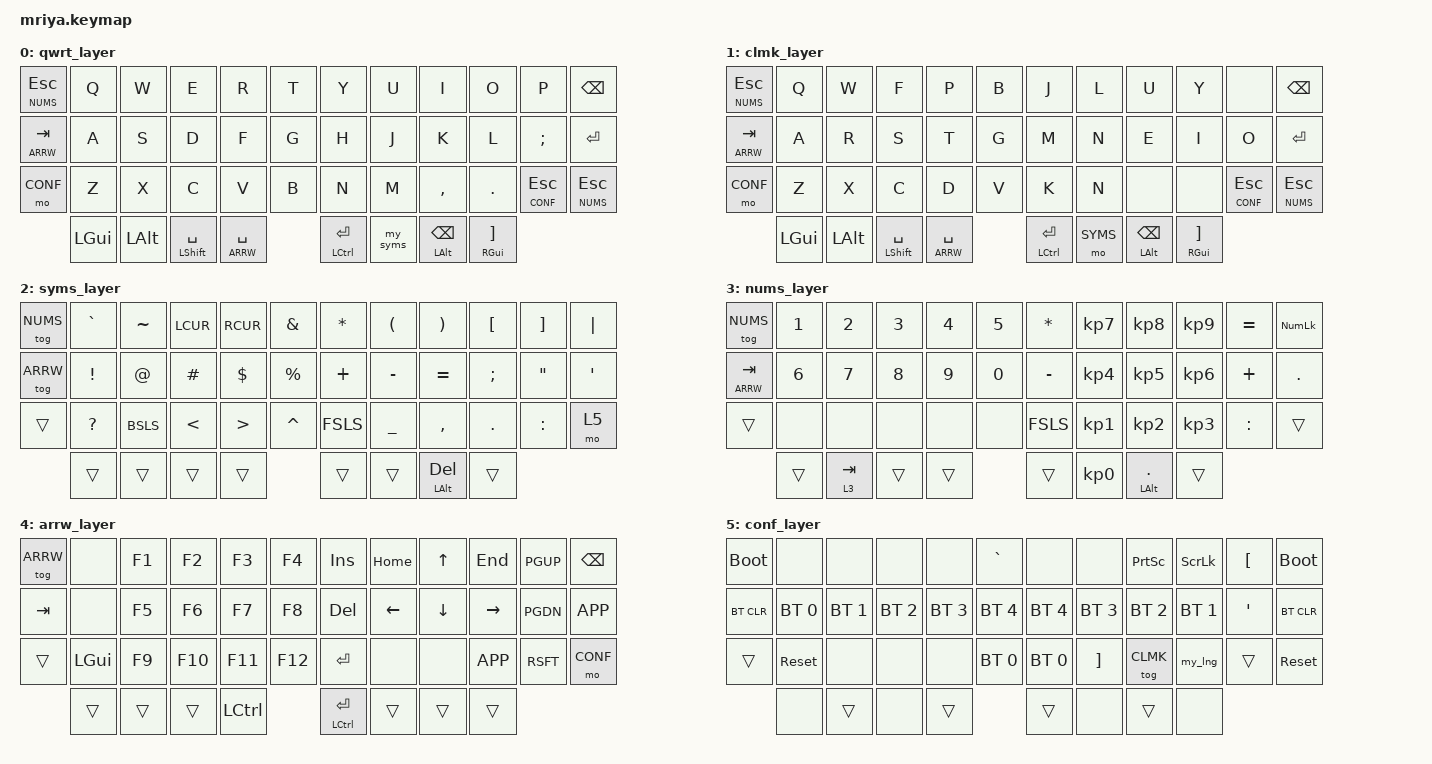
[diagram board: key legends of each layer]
/*
 * Copyright (c) 2023 Andrei Gaevskii
 *
 * SPDX-License-Identifier: MIT
 */

#include <behaviors.dtsi>
#include <dt-bindings/zmk/bt.h>
#include <dt-bindings/zmk/keys.h>

#define QWRT 0
#define CLMK 1
#define SYMS 2
#define NUMS 3
#define ARRW 4
#define CONF 5

&lt {
    quick_tap_ms = <120>;
};

&mt {
    quick_tap_ms = <120>;
};

/ {
    ZMK_MACRO(my_lng,
        wait-ms = <30>;
        tap-ms = <40>;
        bindings = <&kp LA(CAPS) &tog CLMK>;
    )

    ZMK_MACRO(my_syms,
      wait-ms = <0>;
      bindings
        = <&macro_press &mo SYMS &kp CAPS>
        , <&macro_pause_for_release>
        , <&macro_release &kp CAPS &mo SYMS>;
    )

    keymap {
        compatible = "zmk,keymap";

        qwrt_layer {
            bindings = <
  &lt NUMS ESC   &kp Q   &kp W      &kp E      &kp R        &kp T        &kp Y           &kp U      &kp I     &kp O     &kp P          &kp BSPC
  &lt ARRW TAB   &kp A   &kp S      &kp D      &kp F        &kp G        &kp H           &kp J      &kp K     &kp L  &kp SEMI           &kp RET
      &mo CONF   &kp Z   &kp X      &kp C      &kp V        &kp B        &kp N           &kp M  &kp COMMA   &kp DOT  &lt CONF ESC  &lt NUMS ESC
                    &kp LGUI  &kp  LALT &mt LSHFT SPACE  &lt ARRW SPACE    &mt LCTL RET  &my_syms  &mt LALT BSPC  &mt RGUI RBKT
            >;
        };

        clmk_layer {
            bindings = <
  &lt NUMS ESC  &kp Q     &kp W      &kp F            &kp P        &kp B        &kp J           &kp L      &kp U     &kp Y     &none      &kp BSPC
  &lt ARRW TAB  &kp A     &kp R      &kp S            &kp T        &kp G        &kp M           &kp N      &kp E     &kp I     &kp O      &kp RET
      &mo CONF  &kp Z     &kp X      &kp C            &kp D        &kp V        &kp K           &kp N      &none     &none  &lt CONF ESC  &lt NUMS ESC
                    &kp LGUI  &kp  LALT &mt LSHFT SPACE  &lt ARRW SPACE    &mt LCTL RET  &mo SYMS  &mt LALT BSPC  &mt RGUI RBKT
            >;
        };

        syms_layer {
            bindings = <
  &tog NUMS    &kp GRAVE   &kp TILDE   &kp LCUR   &kp RCUR    &kp AMPS     &kp ASTRK   &kp LPRN    &kp RPRN  &kp LBKT   &kp RBKT    &kp PIPE
  &tog ARRW    &kp EXCL       &kp AT   &kp HASH   &kp DLLR   &kp PRCNT      &kp PLUS  &kp MINUS   &kp EQUAL  &kp SCLN    &kp DQT    &kp QUOT
  &trans    &kp QMARK     &kp BSLS     &kp LT     &kp GT    &kp CARET       &kp FSLS  &kp UNDER   &kp COMMA   &kp DOT   &kp COLN      &mo 5
                               &trans     &trans  &trans    &trans        &trans     &trans   &mt LALT DEL    &trans
            >;
        };

        nums_layer {
            bindings = <
  &tog NUMS     &kp N1    &kp N2     &kp N3    &kp N4     &kp N5       &kp ASTRK   &kp KP_N7  &kp KP_N8  &kp KP_N9   &kp EQUAL   &kp KP_NUM
  &lt ARRW TAB  &kp N6    &kp N7     &kp N8    &kp N9     &kp N0       &kp MINUS   &kp KP_N4  &kp KP_N5  &kp KP_N6   &kp PLUS       &kp DOT
    &trans       &none     &none      &none     &none      &none        &kp FSLS    &kp KP_N1  &kp KP_N2  &kp KP_N3   &kp COLN        &trans
                            &trans  &lt 3 TAB    &trans     &trans       &trans    &kp KP_N0  &mt LALT DOT    &trans
            >;
        };

        arrw_layer {
            bindings = <
  &tog ARRW    &none    &kp F1   &kp F2    &kp F3    &kp F4           &kp INS     &kp HOME      &kp UP     &kp END    &kp PGUP   &kp BSPC
    &kp TAB    &none    &kp F5   &kp F6    &kp F7    &kp F8           &kp DEL     &kp LEFT    &kp DOWN   &kp RIGHT    &kp PGDN  &kp K_APP
    &trans  &kp LGUI    &kp F9  &kp F10   &kp F11  &kp  F12           &kp RET        &none       &none   &kp K_APP    &kp RSFT      &mo CONF
                  &trans     &trans     &trans     &kp LCTL           &mt LCTL RET  &trans      &trans      &trans
            >;
        };

        conf_layer {
            bindings = <
  &bootloader         &none         &none         &none         &none     &kp GRAVE             &none         &none      &kp PSCRN      &kp SLCK  &kp LBKT  &bootloader
   &bt BT_CLR  &bt BT_SEL 0  &bt BT_SEL 1  &bt BT_SEL 2  &bt BT_SEL 3  &bt BT_SEL 4      &bt BT_SEL 4  &bt BT_SEL 3   &bt BT_SEL 2  &bt BT_SEL 1  &kp QUOT   &bt BT_CLR
       &trans    &sys_reset         &none         &none         &none  &bt BT_SEL 0      &bt BT_SEL 0      &kp RBKT        &tog CLMK       &my_lng    &trans   &sys_reset
                                    &none        &trans         &none        &trans            &trans         &none        &trans         &none
            >;
        };
    };
};
